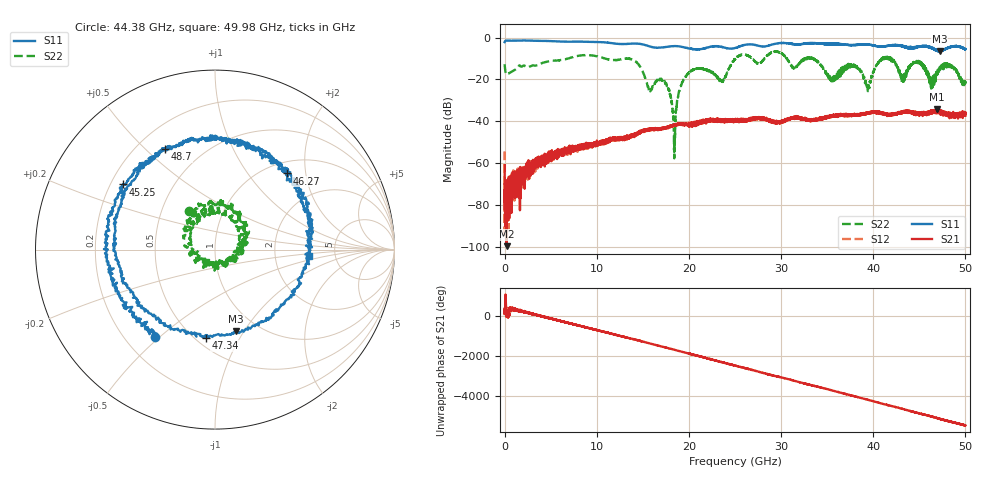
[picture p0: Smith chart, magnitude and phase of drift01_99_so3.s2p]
!Created with skrf (http://scikit-rf.org).
# Hz S RI R 50.0
!freq ReS11 ImS11 ReS21 ImS21 ReS12 ImS12 ReS22 ImS22
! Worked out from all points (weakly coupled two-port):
!   10001 points, 300 kHz to 50 GHz, reference 50 ohm
!   highest |S21| = -34.32 dB at 46.87 GHz (marker M1); lowest = -99.7 dB at 230.3 MHz (marker M2)
!   lowest |S11| = -6.5 dB at 47.2 GHz (marker M3), VSWR 2.78, Z = 39.5 - j46.3 ohm
!   |S11| at or under -10 dB: nowhere
!   |S22| runs from -57.7 to -6.6 dB; largest |S21 - S12| = 0.0038
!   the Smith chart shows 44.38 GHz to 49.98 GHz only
!   S11 on the Smith chart (normalised r, x): 44.38 GHz: 0.32, -0.48; 45.25 GHz: 0.25, +0.30; 46.27 GHz: 1.22, +1.57; 47.34 GHz: 0.56, -0.73; 48.7 GHz: 0.31, +0.58; 49.98 GHz: 3.16, -0.30
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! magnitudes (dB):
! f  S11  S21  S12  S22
! 300 kHz  -2.1  -61.0  -54.5  -12.7
! 230.3 MHz  -1.4  -99.7  -79.0  -17.5
! 8.335 GHz  -1.9  -52.6  -52.2  -8.5
! 16.67 GHz  -4.8  -43.7  -43.7  -20.0
! 17.74 GHz  -4.3  -42.8  -43.4  -24.1
! 18.44 GHz  -4.1  -41.9  -41.8  -48.5
! 19.9 GHz  -5.1  -41.4  -41.5  -17.3
! 23.6 GHz  -4.5  -39.8  -39.6  -20.6
! 25 GHz  -5.0  -39.2  -39.4  -10.5
! 33.34 GHz  -2.6  -39.5  -39.3  -9.9
! 39.37 GHz  -3.3  -36.4  -36.2  -23.6
! 41.67 GHz  -3.8  -36.8  -36.9  -9.9
! 43.18 GHz  -4.2  -35.6  -35.6  -18.9
! 44.38 GHz  -4.6  -35.7  -36.1  -11.7
! 45.25 GHz  -4.0  -36.1  -36.5  -12.0
! 46.27 GHz  -4.7  -35.3  -35.1  -23.5
! 46.87 GHz  -6.1  -34.3  -35.3  -16.9
! 47.2 GHz  -6.5  -35.7  -35.6  -14.3
! 47.34 GHz  -6.1  -35.7  -35.9  -14.0
! 48.7 GHz  -4.1  -37.8  -36.8  -14.0
! 49.98 GHz  -5.6  -36.6  -35.8  -21.6
! 50 GHz  -5.4  -37.3  -36.8  -21.8
